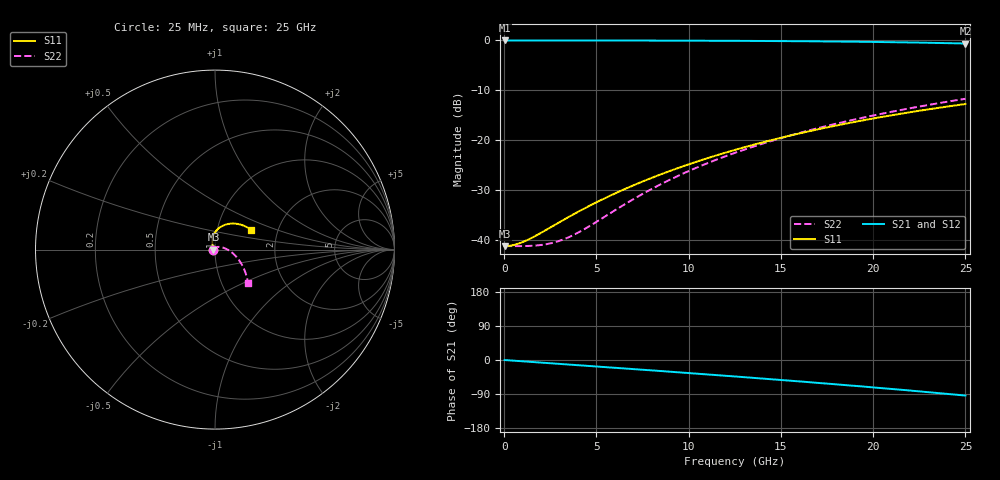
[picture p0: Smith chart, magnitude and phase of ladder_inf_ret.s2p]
! RG_ts6_sw_gnd: kisi's ladder, infinite plates, return groups (Finite board 24 × 16 mm, ThunderScope stack, via F → In3 (stub to B) through In1 GND / In2 GND / In4 GND, four GND vias at 1 mm joined to In1 and In4 and In2)
# Hz S RI R 50
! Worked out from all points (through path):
!   1000 points, 25 MHz to 25 GHz, reference 50 ohm
!   highest |S21| = -0.08 dB at 25 MHz (marker M1); lowest = -0.7 dB at 25 GHz (marker M2)
!   group delay of S21, straight-line fit = 10.3 ps
!   lowest |S11| = -41.1 dB at 25 MHz (marker M3), VSWR 1.02, Z = 49.1 + j0.0089 ohm
!   |S11| at or under -10 dB: start of sweep to end of sweep
!   |S22| runs from -41.1 to -11.7 dB; largest |S21 - S12| = 0
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2.5e7  -0.00877 9.05e-05  0.9912 -0.00147  0.9912 -0.00147  -0.00877 8.67e-05
4.75e8  -0.0088 0.00171  0.9908 -0.0279  0.9908 -0.0279  -0.00862 0.00163
9.75e8  -0.00892 0.0035  0.9895 -0.0572  0.9895 -0.0572  -0.00813 0.00331
1.75e9  -0.00927 0.00635  0.9857 -0.1025  0.9857 -0.1025  -0.00675 0.00581
2.4e9  -0.00972 0.00883  0.9809 -0.1404  0.9809 -0.1404  -0.00502 0.00778
2.85e9  -0.0101 0.0106  0.9767 -0.1665  0.9767 -0.1665  -0.00352 0.00905
3.275e9  -0.0105 0.0124  0.9721 -0.1911  0.9721 -0.1911  -0.00188 0.0102
4.2e9  -0.0116 0.0165  0.9599 -0.2442  0.9599 -0.2442  0.00241 0.0123
5.175e9  -0.0128 0.0214  0.9437 -0.2995  0.9437 -0.2995  0.00797 0.0139
6.2e9  -0.014 0.0272  0.923 -0.3568  0.923 -0.3568  0.0149 0.0149
7.3e9  -0.0152 0.0342  0.8966 -0.417  0.8966 -0.417  0.0234 0.0149
8.35e9  -0.0158 0.0418  0.8674 -0.473  0.8674 -0.473  0.0325 0.0139
9.325e9  -0.0158 0.0496  0.8368 -0.5236  0.8368 -0.5236  0.0416 0.0118
1.035e10  -0.0149 0.0586  0.801 -0.5749  0.801 -0.5749  0.0519 0.00849
1.14e10  -0.0128 0.0685  0.7605 -0.6253  0.7605 -0.6253  0.0628 0.00375
1.2525e10  -0.00898 0.0798  0.7128 -0.6765  0.7128 -0.6765  0.075 -0.00289
1.45e10  0.00291 0.1004  0.6186 -0.7582  0.6186 -0.7582  0.0968 -0.0186
1.6675e10  0.0252 0.1222  0.5001 -0.8338  0.5001 -0.8338  0.1204 -0.0418
1.8825e10  0.0581 0.1387  0.3691 -0.8906  0.3691 -0.8906  0.142 -0.0708
2.085e10  0.0989 0.1452  0.2348 -0.9246  0.2348 -0.9246  0.1596 -0.1032
2.295e10  0.1495 0.1372  0.0869 -0.9365  0.0869 -0.9365  0.1741 -0.1417
2.5e10  0.2025 0.1092  -0.0628 -0.9218  -0.0628 -0.9218  0.1835 -0.1834
